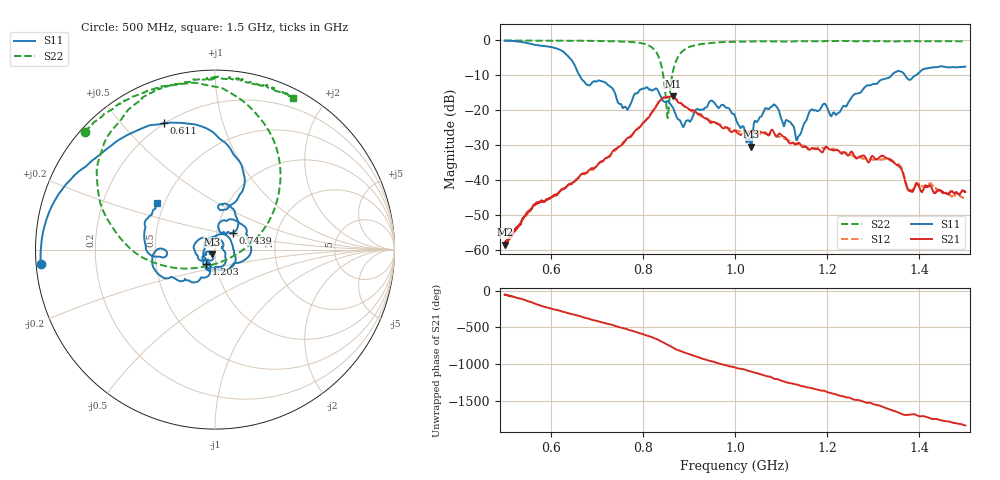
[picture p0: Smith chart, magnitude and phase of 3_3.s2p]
!Agilent Technologies,E8364B,US42250235,A.06.04.32
!Agilent E8364B: A.06.04.32
!Date: Thursday, October 01, 2020 14:33:46
!Correction: S11(Full 2 Port(1,2)) S21(Full 2 Port(1,2)) S12(Full 2 Port(1,2)) S22(Full 2 Port(1,2))
!S2P File: Measurements: S11, S21, S12, S22:
# Hz S  dB  R 50
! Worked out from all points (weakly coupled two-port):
!   2650 points, 500 MHz to 1.5 GHz, reference 50 ohm
!   highest |S21| = -16.09 dB at 865.4 MHz (marker M1); lowest = -58.6 dB at 500.4 MHz (marker M2)
!   lowest |S11| = -30.5 dB at 1.035 GHz (marker M3), VSWR 1.06, Z = 48.3 - j2.39 ohm
!   |S11| at or under -10 dB: 661.9 MHz to 1.341 GHz (678.7 MHz wide, 67.8 % of centre); 1.368 GHz to 1.394 GHz (25.63 MHz wide, 1.86 % of centre)
!   |S22| runs from -22.4 to -0.2 dB; largest |S21 - S12| = 0.0085
!   S11 on the Smith chart (normalised r, x): 500 MHz: 0.01, -0.04; 611 MHz: 0.20, +0.66; 743.9 MHz: 1.20, +0.23; 1.203 GHz: 0.89, -0.15; 1.5 GHz: 0.46, +0.29
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5e8  -0.22 -175.2  -58.26 -50.1  -58.60 -51.0  -0.19 137.9
5.003775e8  -0.22 -175.3  -58.55 -49.9  -58.37 -53.1  -0.19 137.9
6.109853e8  -2.39 112.1  -44.53 101.2  -44.18 99.3  -0.27 125.1
6.442054e8  -5.61 76.7  -41.26 43.8  -41.19 44.2  -0.28 122.8
6.668554e8  -11.17 68.4  -38.38 6.5  -38.59 3.7  -0.27 121.0
7.438656e8  -17.14 43.1  -30.97 -126.2  -31.07 -124.8  -0.44 106.2
7.668932e8  -19.98 71.5  -28.02 -167.9  -28.21 -169.1  -0.55 99.2
8.050208e8  -13.78 43.8  -23.14 116.6  -23.23 117.7  -1.21 83.3
8.337108e8  -14.77 -15.9  -17.83 49.5  -18.00 48.7  -4.67 51.6
8.533409e8  -17.52 -51.1  -16.41 -16.0  -16.31 -14.7  -22.19 -56.6
8.654209e8  -19.36 -95.2  -16.09 -55.4  -16.17 -54.8  -8.95 -169.0
8.975085e8  -22.97 124.7  -19.52 -138.5  -19.57 -137.5  -2.21 148.1
9.488486e8  -17.40 -44.4  -23.74 120.0  -23.24 123.2  -0.89 124.3
1.000189e9  -21.93 -149.7  -26.01 31.0  -25.85 33.0  -0.54 114.9
1.034919e9  -30.53 -124.0  -26.06 -23.1  -26.75 -23.8  -0.45 110.7
1.081729e9  -18.86 -177.7  -25.86 -111.8  -27.08 -106.7  -0.46 107.1
1.135712e9  -28.16 17.5  -29.54 157.3  -29.69 158.5  -0.40 97.1
1.166667e9  -19.90 -67.9  -30.96 109.5  -30.97 111.6  -0.44 92.9
1.203284e9  -20.40 -122.2  -31.14 49.6  -30.87 51.1  -0.39 91.0
1.333522e9  -10.83 -148.0  -34.04 -175.1  -34.37 -173.5  -0.41 78.0
1.379955e9  -11.44 -174.9  -43.05 109.0  -43.18 107.7  -0.41 73.3
1.5e9  -7.66 140.8  -43.50 -40.1  -44.94 -40.7  -0.44 62.7
